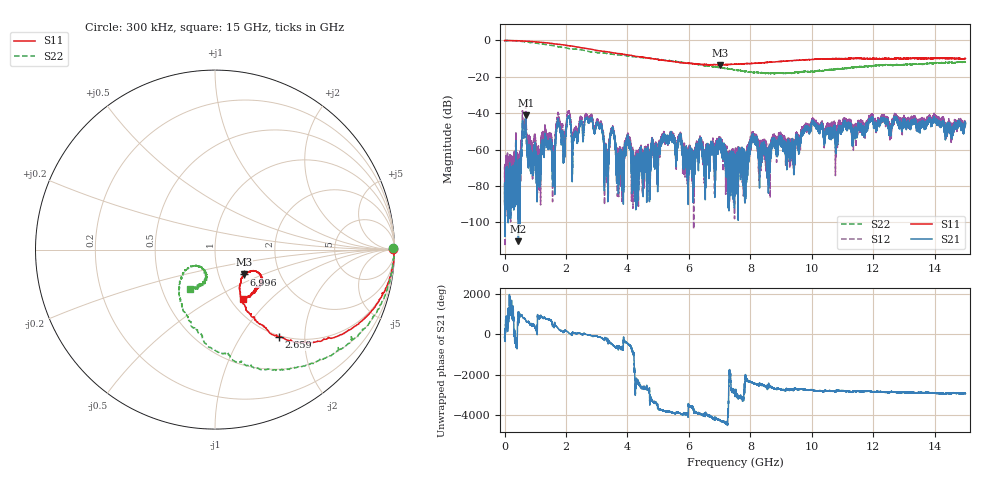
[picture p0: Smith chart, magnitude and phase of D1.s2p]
!Agilent Technologies,N5230C,SG49000117,A.08.50.07
!Agilent N5230C: A.08.50.07
!Date: Monday, December 11, 2023 23:19:09
!Correction: S11(Full 2 Port(1,2))
!S21(Full 2 Port(1,2))
!S12(Full 2 Port(1,2))
!S22(Full 2 Port(1,2))
!S2P File: Measurements: S11, S21, S12, S22:
# Hz S  RI  R 50
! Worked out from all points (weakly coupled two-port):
!   20001 points, 300 kHz to 15 GHz, reference 50 ohm
!   highest |S21| = -41.07 dB at 685.8 MHz (marker M1); lowest = -110.5 dB at 450.3 MHz (marker M2)
!   lowest |S11| = -13.5 dB at 7.014 GHz (marker M3), VSWR 1.54, Z = 66.2 - j19.1 ohm
!   |S11| at or under -10 dB: 4.812 GHz to 10.5 GHz (5.691 GHz wide, 74.3 % of centre); 10.5 GHz to 10.67 GHz (163.8 MHz wide, 1.55 % of centre); 14.85 GHz to 14.97 GHz (124 MHz wide, 0.832 % of centre) (the widest 3 of 227)
!   |S22| runs from -18.4 to 0.0 dB; largest |S21 - S12| = 0.0077
!   S11 on the Smith chart (normalised r, x): 300 kHz: open; 2.659 GHz: 0.98, -1.50; 6.996 GHz: 1.32, -0.38; 15 GHz: 1.15, -0.71
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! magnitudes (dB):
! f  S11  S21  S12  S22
! 300 kHz  -0.1  -79.0  -78.7  -0.1
! 450.3 MHz  -0.2  -110.5  -65.7  -0.3
! 685.8 MHz  -0.4  -41.1  -36.2  -1.0
! 1.099 GHz  -0.9  -64.8  -59.2  -1.6
! 1.275 GHz  -1.1  -59.1  -60.2  -2.0
! 1.597 GHz  -1.8  -63.0  -60.1  -2.8
! 1.739 GHz  -2.1  -43.3  -39.5  -3.4
! 2.501 GHz  -4.0  -44.6  -42.5  -5.2
! 2.659 GHz  -4.4  -42.7  -41.2  -5.7
! 3.113 GHz  -5.7  -47.3  -45.2  -6.8
! 3.311 GHz  -6.2  -67.9  -59.2  -7.1
! 3.505 GHz  -6.7  -49.0  -48.4  -7.5
! 3.716 GHz  -7.2  -74.9  -72.3  -8.0
! 5 GHz  -10.5  -60.6  -64.0  -10.4
! 6.996 GHz  -13.4  -56.5  -52.8  -14.8
! 7.014 GHz  -13.5  -56.2  -56.5  -14.8
! 7.5 GHz  -13.1  -67.8  -70.6  -16.2
! 8.102 GHz  -12.6  -54.8  -51.0  -17.7
! 8.576 GHz  -12.0  -73.2  -65.9  -18.0
! 10 GHz  -10.4  -44.6  -43.8  -16.9
! 12.5 GHz  -9.9  -47.9  -44.9  -13.5
! 15 GHz  -9.9  -45.2  -45.5  -11.8
